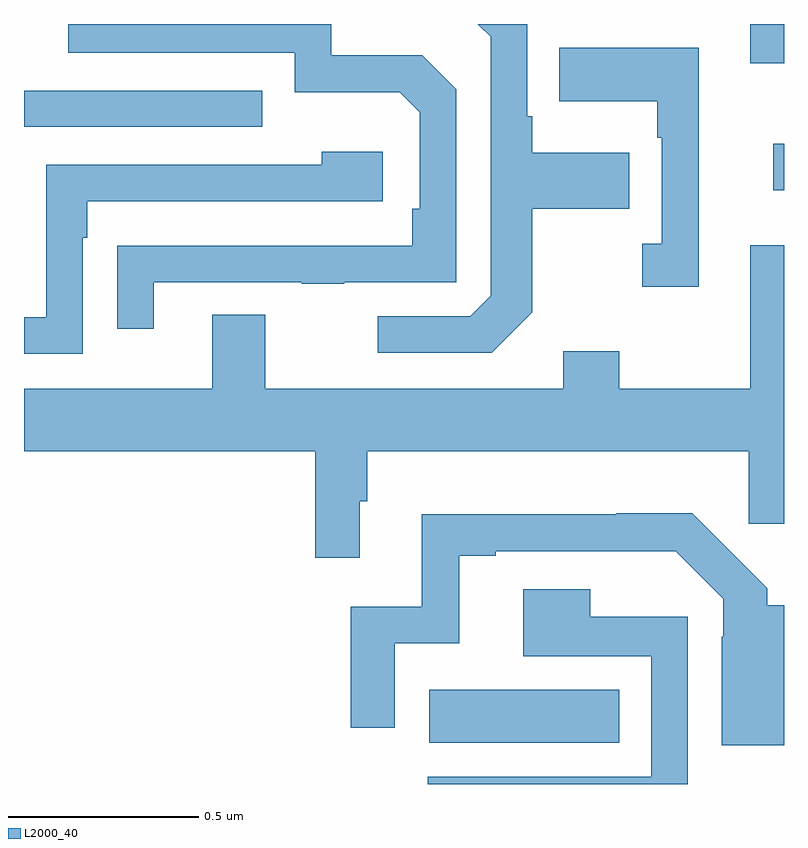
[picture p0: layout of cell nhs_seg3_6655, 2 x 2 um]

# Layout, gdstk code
import gdstk
lib = gdstk.Library(unit=1e-6, precision=1e-09)
def R(c, l, rs):  # rectangles x0, y0, x1, y1
    for r in rs: c.add(gdstk.rectangle(r[:2], r[2:], *l))
def P(c, l, *ps):  # polygons
    for p in ps: c.add(gdstk.Polygon(p, *l))
L2000_40 = (2000, 40)

nhs_seg3_6655 = lib.new_cell('nhs_seg3_6655')
R(nhs_seg3_6655, L2000_40, [(195.066,673.508,195.566,673.648), (195.972,674.963,196,675.085), (194,675.129,194.627,675.225), (195.911,675.297,196,675.4)])
P(nhs_seg3_6655, L2000_40, [(194.341,674.721),(194.731,674.721),(194.731,674.716),(194.843,674.716),(194.843,674.721),(195.138,674.721),(195.138,675.228),(195.048,675.318),(194.808,675.318),(194.808,675.4),(194.117,675.4),(194.117,675.324),(194.712,675.324),(194.712,675.221),(194.989,675.221),(195.042,675.168),(195.042,674.914),(195.022,674.914),(195.022,674.817),(194.347,674.817),(194.347,674.816),(194.245,674.816),(194.245,674.598),(194.341,674.598)],
  [(195.337,674.641),(195.337,674.914),(195.593,674.914),(195.593,675.061),(195.337,675.061),(195.337,675.157),(195.324,675.157),(195.324,675.4),(195.194,675.4),(195.228,675.366),(195.228,674.685),(195.174,674.631),(194.931,674.631),(194.931,674.535),(195.231,674.535)],
  [(195.776,675.337),(195.409,675.337),(195.409,675.197),(195.666,675.197),(195.666,675.101),(195.678,675.101),(195.678,674.822),(195.627,674.822),(195.627,674.709),(195.776,674.709)],
  [(194.154,674.837),(194.167,674.837),(194.167,674.934),(194.944,674.934),(194.944,675.064),(194.783,675.064),(194.783,675.03),(194.058,675.03),(194.058,674.628),(194,674.628),(194,674.532),(194.154,674.532)],
  [(194.635,674.635),(194.495,674.635),(194.495,674.44),(194,674.44),(194,674.276),(194.767,674.276),(194.767,673.995),(194.884,673.995),(194.884,674.144),(194.903,674.144),(194.903,674.276),(195.907,674.276),(195.907,674.085),(196,674.085),(196,674.818),(195.911,674.818),(195.911,674.44),(195.567,674.44),(195.567,674.539),(195.419,674.539),(195.419,674.44),(194.635,674.44)],
  [(196,673.87),(195.956,673.87),(195.956,673.915),(195.758,674.113),(195.559,674.113),(195.559,674.11),(195.047,674.11),(195.047,673.866),(194.86,673.866),(194.86,673.548),(194.976,673.548),(194.976,673.77),(195.145,673.77),(195.145,674.001),(195.241,674.001),(195.241,674.013),(195.715,674.013),(195.84,673.887),(195.84,673.787),(195.836,673.787),(195.836,673.502),(196,673.502)],
  [(195.747,673.84),(195.49,673.84),(195.49,673.912),(195.314,673.912),(195.314,673.736),(195.651,673.736),(195.651,673.419),(195.062,673.419),(195.062,673.4),(195.747,673.4)])

lib.write_gds('nhs_seg3_6655.gds')
